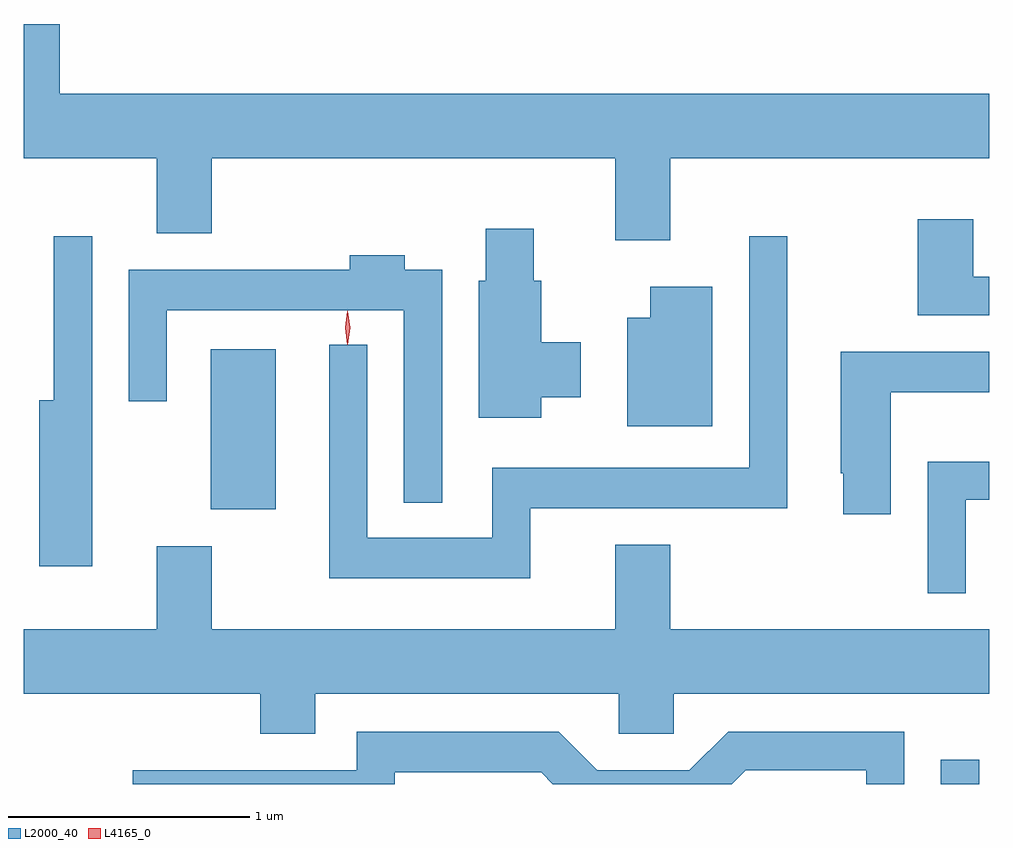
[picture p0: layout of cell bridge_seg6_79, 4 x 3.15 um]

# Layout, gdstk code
import gdstk
lib = gdstk.Library(unit=1e-6, precision=1e-09)
def R(c, l, rs):  # rectangles x0, y0, x1, y1
    for r in rs: c.add(gdstk.rectangle(r[:2], r[2:], *l))
def P(c, l, *ps):  # polygons
    for p in ps: c.add(gdstk.Polygon(p, *l))
L2000_40 = (2000, 40)
L4165_0 = (4165, 0)

bridge_seg6_79 = lib.new_cell('bridge_seg6_79')
R(bridge_seg6_79, L2000_40, [(1290.181,1665.103,1290.339,1665.203), (1287.156,1666.241,1287.424,1666.904)])
P(bridge_seg6_79, L2000_40, [(1289.059,1667.696),(1290.381,1667.696),(1290.381,1667.964),(1286.529,1667.964),(1286.529,1668.252),(1286.381,1668.252),(1286.381,1667.696),(1286.931,1667.696),(1286.931,1667.386),(1287.159,1667.386),(1287.159,1667.696),(1288.831,1667.696),(1288.831,1667.356),(1289.059,1667.356)],
  [(1290.381,1667.204),(1290.314,1667.204),(1290.314,1667.444),(1290.086,1667.444),(1290.086,1667.046),(1290.381,1667.046)],
  [(1288.524,1666.706),(1288.689,1666.706),(1288.689,1666.934),(1288.524,1666.934),(1288.524,1667.189),(1288.494,1667.189),(1288.494,1667.404),(1288.296,1667.404),(1288.296,1667.189),(1288.266,1667.189),(1288.266,1666.621),(1288.524,1666.621)],
  [(1286.664,1667.373),(1286.506,1667.373),(1286.506,1666.694),(1286.446,1666.694),(1286.446,1666.006),(1286.664,1666.006)],
  [(1288.479,1666.246),(1289.544,1666.246),(1289.544,1667.373),(1289.386,1667.373),(1289.386,1666.414),(1288.321,1666.414),(1288.321,1666.124),(1287.804,1666.124),(1287.804,1666.923),(1287.646,1666.923),(1287.646,1665.956),(1288.479,1665.956)],
  [(1288.114,1667.234),(1287.959,1667.234),(1287.959,1667.294),(1287.731,1667.294),(1287.731,1667.234),(1286.816,1667.234),(1286.816,1666.688),(1286.974,1666.688),(1286.974,1667.066),(1287.956,1667.066),(1287.956,1666.268),(1288.114,1666.268)],
  [(1289.234,1667.164),(1288.976,1667.164),(1288.976,1667.034),(1288.881,1667.034),(1288.881,1666.586),(1289.234,1666.586)],
  [(1289.974,1666.726),(1290.381,1666.726),(1290.381,1666.894),(1289.766,1666.894),(1289.766,1666.39),(1289.776,1666.39),(1289.776,1666.221),(1289.974,1666.221)],
  [(1290.284,1666.281),(1290.381,1666.281),(1290.381,1666.439),(1290.126,1666.439),(1290.126,1665.893),(1290.284,1665.893)],
  [(1287.589,1665.476),(1288.846,1665.476),(1288.846,1665.311),(1289.074,1665.311),(1289.074,1665.476),(1290.381,1665.476),(1290.381,1665.744),(1289.059,1665.744),(1289.059,1666.094),(1288.831,1666.094),(1288.831,1665.744),(1287.159,1665.744),(1287.159,1666.089),(1286.931,1666.089),(1286.931,1665.744),(1286.381,1665.744),(1286.381,1665.476),(1287.361,1665.476),(1287.361,1665.311),(1287.589,1665.311)],
  [(1287.919,1665.151),(1288.524,1665.151),(1288.572,1665.103),(1289.314,1665.103),(1289.372,1665.161),(1289.871,1665.161),(1289.871,1665.103),(1290.029,1665.103),(1290.029,1665.319),(1289.299,1665.319),(1289.139,1665.159),(1288.757,1665.159),(1288.597,1665.319),(1287.761,1665.319),(1287.761,1665.159),(1286.833,1665.159),(1286.833,1665.103),(1287.919,1665.103)])
P(bridge_seg6_79, L4165_0, [(1287.722,1666.924),(1287.713,1666.993),(1287.722,1667.062),(1287.723,1667.063),(1287.723,1667.062),(1287.733,1666.993),(1287.723,1666.924),(1287.723,1666.924)])

lib.write_gds('bridge_seg6_79.gds')
